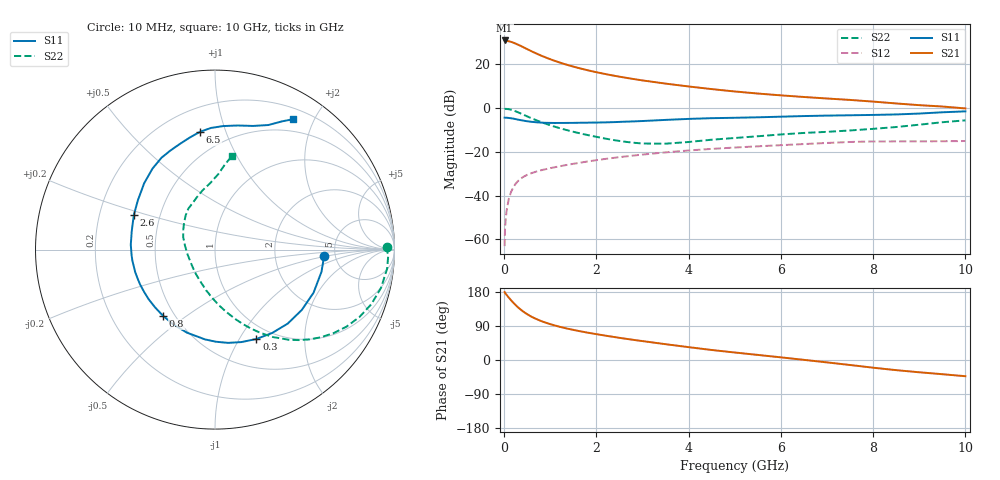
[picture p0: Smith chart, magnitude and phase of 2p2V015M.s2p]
! (c) 2009  Infineon Technologies AG, Munich
! Infineon Technologies  Discrete & RF Semiconductors
! BFP420
! VCE =  2.0 V,  IC =  15 mA
! Common Emitter S-Parameters:  Nov 2009
# GHz  S  MA  R  50
!  f  S11  S21  S12  S22
! GHz  MAG  ANG  MAG  ANG  MAG  ANG  MAG  ANG
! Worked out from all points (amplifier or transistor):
!   46 points, 10 MHz to 10 GHz, reference 50 ohm
!   highest |S21| = 31.0 dB at 10 MHz (marker M1)
!   |S21| within 3 dB of that: start of sweep to 406.8 MHz
!   unconditionally stable (mu >= 1): 2.008 GHz to end of sweep
!   at 300 MHz: K = 0.26, MSG = 31.2 dB, |S12| = -33.3 dB
!   at 1.7 GHz: K = 0.93, MSG = 21.3 dB, |S12| = -24.7 dB
!   at 10 GHz: K = 1.07, MAG = 5.8 dB, |S12| = -15.0 dB
!   lowest NFmin = 1.06 dB at 900 MHz
!   S11 on the Smith chart (normalised r, x): 10 MHz: 4.06, -0.48; 300 MHz: 0.83, -1.19; 800 MHz: 0.43, -0.41; 2.6 GHz: 0.35, +0.18; 6.5 GHz: 0.35, +0.82; 10 GHz: 0.33, +1.72
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0.01  0.6091 -3.5  35.47 179.2  0.0007 126.9  0.9558 1.0
0.02  0.6077 -4.6  34.71 176.9  0.0019 87.1  0.9655 -2.3
0.05  0.6061 -11.7  34.55 172.2  0.0043 84.0  0.9649 -6.3
0.1  0.5994 -23.6  34.03 164.8  0.0084 80.7  0.9495 -12.9
0.15  0.589 -34.8  32.93 157.6  0.0122 76.0  0.9229 -19.2
0.2  0.5781 -45.5  31.6 151.0  0.0157 71.7  0.8883 -25.0
0.25  0.5632 -55.6  29.97 144.7  0.0188 68.2  0.8497 -30.3
0.3  0.5488 -65.1  28.46 139.0  0.0216 64.8  0.8079 -35.2
0.4  0.5248 -82.0  25.32 129.1  0.0263 59.6  0.7258 -43.6
0.5  0.5035 -96.3  22.43 120.8  0.03 55.9  0.6504 -50.6
0.6  0.4884 -108.7  19.94 113.8  0.033 53.3  0.5852 -56.4
0.8  0.4691 -128.1  16 103.0  0.0381 50.3  0.4825 -65.6
1  0.4617 -143.2  13.2 94.6  0.0426 48.8  0.4073 -73.2
1.2  0.4604 -154.9  11.13 87.8  0.0469 48.0  0.351 -80.0
1.7  0.4659 -176.4  7.887 74.6  0.058 46.3  0.2582 -95.7
2.6  0.4916 156.8  5.048 56.7  0.0782 41.5  0.1724 -128.1
3.5  0.5407 136.9  3.654 41.7  0.0978 34.9  0.1546 -168.6
5.5  0.6201 108.5  2.167 13.4  0.1345 18.3  0.2285 138.9
6.5  0.6619 97.2  1.806 0.4  0.1516 9.7  0.2722 123.1
7  0.6781 91.9  1.669 -6.3  0.1606 5.0  0.2883 115.5
8.5  0.7208 72.9  1.285 -26.8  0.1743 -11.5  0.3716 94.1
10  0.8475 59.0  0.99 -42.8  0.1776 -22.4  0.5285 79.8
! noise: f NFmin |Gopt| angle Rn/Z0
0.9  1.06  0.09  -152  0.13
1.8  1.36  0.18  -147  0.12
2.4  1.49  0.17  -148  0.14
3  1.53  0.25  -138  0.14
4  1.67  0.38  -119  0.2
5  2.14  0.44  -103  0.32
6  2.48  0.5  -88  0.47
